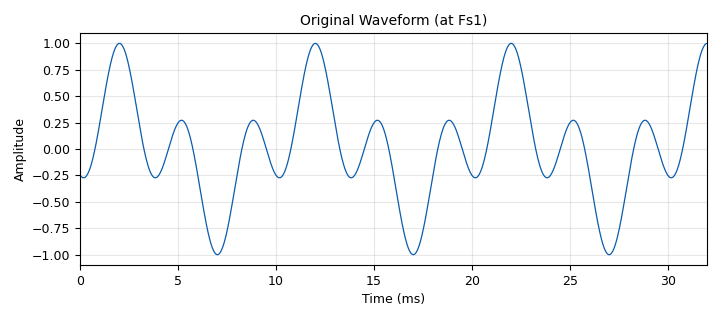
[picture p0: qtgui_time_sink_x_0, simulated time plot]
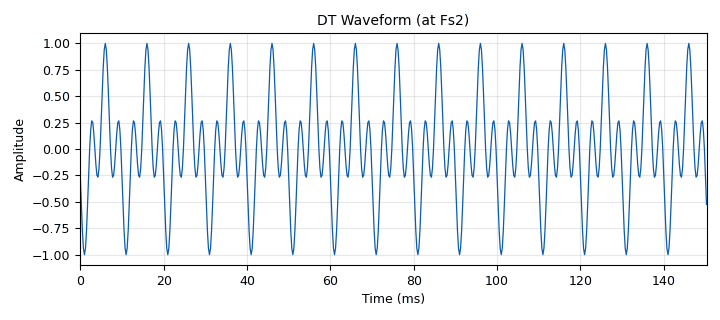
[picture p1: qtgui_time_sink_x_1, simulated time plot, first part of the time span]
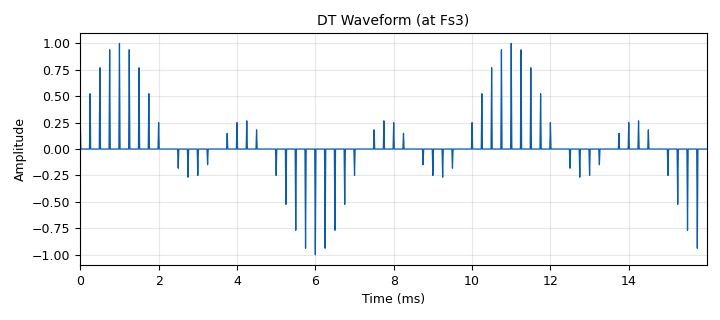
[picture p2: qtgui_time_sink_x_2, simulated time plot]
<?xml version='1.0' encoding='utf-8'?>
<?grc format='1' created='3.7.11'?>
<flow_graph>
<block>
<key>options</key>
<param><key>id</key><value>top_block</value></param>
<param><key>author</key><value>Maurice Woods</value></param>
<param><key>description</key><value>Lab 04</value></param>
<param><key>generate_options</key><value>qt_gui</value></param>
<param><key>title</key><value>Sampling Theorem</value></param>
</block>
<block>
<key>variable</key>
<param><key>id</key><value>Dsamp</value></param>
<param><key>value</key><value>8</value></param>
</block>
<block>
<key>variable</key>
<param><key>id</key><value>Fs1</value></param>
<param><key>value</key><value>32000</value></param>
</block>
<block>
<key>variable</key>
<param><key>id</key><value>Fs2</value></param>
<param><key>value</key><value>4000</value></param>
</block>
<block>
<key>variable</key>
<param><key>id</key><value>Fs3</value></param>
<param><key>value</key><value>64000</value></param>
</block>
<block>
<key>variable_qtgui_range</key>
<param><key>id</key><value>Fs4</value></param>
<param><key>value</key><value>Fs3</value></param>
<param><key>gui_hint</key><value>1,2,1,2</value></param>
<param><key>label</key><value>Fs4</value></param>
<param><key>orient</key><value>Qt.Horizontal</value></param>
<param><key>start</key><value>Fs1</value></param>
<param><key>step</key><value>0.01</value></param>
<param><key>stop</key><value>Fs3*10</value></param>
</block>
<block>
<key>variable</key>
<param><key>id</key><value>Usamp</value></param>
<param><key>value</key><value>16</value></param>
</block>
<block>
<key>variable_qtgui_range</key>
<param><key>id</key><value>f0</value></param>
<param><key>value</key><value>200</value></param>
<param><key>gui_hint</key><value>1,0,1,2</value></param>
<param><key>label</key><value>Initial Frequency</value></param>
<param><key>orient</key><value>Qt.Horizontal</value></param>
<param><key>start</key><value>-5000</value></param>
<param><key>step</key><value>1</value></param>
<param><key>stop</key><value>5000</value></param>
</block>
<block>
<key>variable_qtgui_range</key>
<param><key>id</key><value>fc</value></param>
<param><key>value</key><value>Fs2</value></param>
<param><key>gui_hint</key><value>0,0,1,2</value></param>
<param><key>label</key><value>Center Frequency</value></param>
<param><key>orient</key><value>Qt.Horizontal</value></param>
<param><key>start</key><value>-16000</value></param>
<param><key>step</key><value>1</value></param>
<param><key>stop</key><value>16000</value></param>
</block>
<block>
<key>variable</key>
<param><key>id</key><value>k</value></param>
<param><key>value</key><value>5</value></param>
</block>
<block>
<key>variable_qtgui_range</key>
<param><key>id</key><value>offset</value></param>
<param><key>value</key><value>0</value></param>
<param><key>_enabled</key><value>0</value></param>
<param><key>gui_hint</key><value>1,2,1,2</value></param>
<param><key>label</key><value>Offset</value></param>
<param><key>orient</key><value>Qt.Horizontal</value></param>
<param><key>start</key><value>-1</value></param>
<param><key>step</key><value>0.01</value></param>
<param><key>stop</key><value>1</value></param>
</block>
<block>
<key>variable_qtgui_chooser</key>
<param><key>id</key><value>waveform</value></param>
<param><key>value</key><value>102</value></param>
<param><key>gui_hint</key><value>0,2,1,2</value></param>
<param><key>label0</key><value>Cosine</value></param>
<param><key>label1</key><value>Rectangular</value></param>
<param><key>label2</key><value>Triangular</value></param>
<param><key>num_opts</key><value>3</value></param>
<param><key>option0</key><value>102</value></param>
<param><key>option1</key><value>103</value></param>
<param><key>option2</key><value>104</value></param>
<param><key>orient</key><value>Qt.QHBoxLayout</value></param>
<param><key>type</key><value>int</value></param>
<param><key>widget</key><value>radio_buttons</value></param>
</block>
<block>
<key>analog_sig_source_x</key>
<param><key>id</key><value>analog_sig_source_x_0</value></param>
<param><key>amp</key><value>1</value></param>
<param><key>freq</key><value>f0</value></param>
<param><key>offset</key><value>0</value></param>
<param><key>type</key><value>float</value></param>
<param><key>samp_rate</key><value>Fs1</value></param>
<param><key>waveform</key><value>waveform</value></param>
</block>
<block>
<key>analog_sig_source_x</key>
<param><key>id</key><value>analog_sig_source_x_0_0</value></param>
<param><key>amp</key><value>1</value></param>
<param><key>freq</key><value>f0</value></param>
<param><key>offset</key><value>0</value></param>
<param><key>type</key><value>float</value></param>
<param><key>samp_rate</key><value>Fs4</value></param>
<param><key>waveform</key><value>waveform</value></param>
</block>
<block>
<key>blocks_multiply_xx</key>
<param><key>id</key><value>blocks_multiply_xx_0</value></param>
<param><key>type</key><value>float</value></param>
</block>
<block>
<key>blocks_throttle</key>
<param><key>id</key><value>blocks_throttle_0</value></param>
<param><key>samples_per_second</key><value>Fs1</value></param>
<param><key>type</key><value>float</value></param>
</block>
<block>
<key>fir_filter_xxx</key>
<param><key>id</key><value>fir_filter_xxx_0</value></param>
<param><key>decim</key><value>Dsamp</value></param>
<param><key>taps</key><value>1</value></param>
<param><key>type</key><value>fff</value></param>
</block>
<block>
<key>import</key>
<param><key>id</key><value>import_0</value></param>
<param><key>import</key><value>import ptfun as pt</value></param>
</block>
<block>
<key>import</key>
<param><key>id</key><value>import_0_0</value></param>
<param><key>import</key><value>import numpy as np</value></param>
</block>
<block>
<key>interp_fir_filter_xxx</key>
<param><key>id</key><value>interp_fir_filter_xxx_0</value></param>
<param><key>interp</key><value>Usamp</value></param>
<param><key>taps</key><value>1</value></param>
<param><key>type</key><value>fff</value></param>
</block>
<block>
<key>interp_fir_filter_xxx</key>
<param><key>id</key><value>interp_fir_filter_xxx_0_0</value></param>
<param><key>interp</key><value>1</value></param>
<param><key>taps</key><value>2*np.cos(2*np.pi*fc/Fs3*np.arange(-2*k*Usamp,2*k*Usamp))*pt.pampt(Usamp,'sinc',[k,2.6,Fs3])</value></param>
<param><key>type</key><value>fff</value></param>
</block>
<block>
<key>qtgui_time_sink_x</key>
<param><key>id</key><value>qtgui_time_sink_x_0</value></param>
<param><key>autoscale</key><value>True</value></param>
<param><key>gui_hint</key><value>2,0,1,2</value></param>
<param><key>grid</key><value>True</value></param>
<param><key>color1</key><value>"blue"</value></param>
<param><key>label1</key><value></value></param>
<param><key>name</key><value>"Original Waveform (at Fs1)"</value></param>
<param><key>size</key><value>1024</value></param>
<param><key>srate</key><value>Fs1</value></param>
<param><key>type</key><value>float</value></param>
</block>
<block>
<key>qtgui_time_sink_x</key>
<param><key>id</key><value>qtgui_time_sink_x_1</value></param>
<param><key>autoscale</key><value>True</value></param>
<param><key>gui_hint</key><value>2,2,1,2</value></param>
<param><key>grid</key><value>True</value></param>
<param><key>color1</key><value>"blue"</value></param>
<param><key>label1</key><value></value></param>
<param><key>name</key><value>"DT Waveform (at Fs2)"</value></param>
<param><key>size</key><value>1024</value></param>
<param><key>srate</key><value>Fs2</value></param>
<param><key>type</key><value>float</value></param>
</block>
<block>
<key>qtgui_time_sink_x</key>
<param><key>id</key><value>qtgui_time_sink_x_2</value></param>
<param><key>autoscale</key><value>True</value></param>
<param><key>gui_hint</key><value>3,0,1,2</value></param>
<param><key>grid</key><value>True</value></param>
<param><key>color1</key><value>"blue"</value></param>
<param><key>label1</key><value></value></param>
<param><key>name</key><value>"DT Waveform (at Fs3)"</value></param>
<param><key>size</key><value>1024</value></param>
<param><key>srate</key><value>Fs3</value></param>
<param><key>type</key><value>float</value></param>
</block>
<block>
<key>qtgui_time_sink_x</key>
<param><key>id</key><value>qtgui_time_sink_x_3</value></param>
<param><key>autoscale</key><value>True</value></param>
<param><key>gui_hint</key><value>3,2,1,2</value></param>
<param><key>grid</key><value>True</value></param>
<param><key>color1</key><value>"blue"</value></param>
<param><key>label1</key><value></value></param>
<param><key>name</key><value>"Reconstructed Waveform (at Fs3)"</value></param>
<param><key>size</key><value>1024</value></param>
<param><key>srate</key><value>Fs3</value></param>
<param><key>type</key><value>float</value></param>
</block>
<connection><source_block_id>analog_sig_source_x_0</source_block_id><sink_block_id>blocks_multiply_xx_0</sink_block_id><source_key>0</source_key><sink_key>0</sink_key></connection>
<connection><source_block_id>analog_sig_source_x_0_0</source_block_id><sink_block_id>blocks_multiply_xx_0</sink_block_id><source_key>0</source_key><sink_key>1</sink_key></connection>
<connection><source_block_id>blocks_multiply_xx_0</source_block_id><sink_block_id>blocks_throttle_0</sink_block_id><source_key>0</source_key><sink_key>0</sink_key></connection>
<connection><source_block_id>blocks_throttle_0</source_block_id><sink_block_id>fir_filter_xxx_0</sink_block_id><source_key>0</source_key><sink_key>0</sink_key></connection>
<connection><source_block_id>blocks_throttle_0</source_block_id><sink_block_id>qtgui_time_sink_x_0</sink_block_id><source_key>0</source_key><sink_key>0</sink_key></connection>
<connection><source_block_id>fir_filter_xxx_0</source_block_id><sink_block_id>interp_fir_filter_xxx_0</sink_block_id><source_key>0</source_key><sink_key>0</sink_key></connection>
<connection><source_block_id>fir_filter_xxx_0</source_block_id><sink_block_id>qtgui_time_sink_x_1</sink_block_id><source_key>0</source_key><sink_key>0</sink_key></connection>
<connection><source_block_id>interp_fir_filter_xxx_0</source_block_id><sink_block_id>interp_fir_filter_xxx_0_0</sink_block_id><source_key>0</source_key><sink_key>0</sink_key></connection>
<connection><source_block_id>interp_fir_filter_xxx_0</source_block_id><sink_block_id>qtgui_time_sink_x_2</sink_block_id><source_key>0</source_key><sink_key>0</sink_key></connection>
<connection><source_block_id>interp_fir_filter_xxx_0_0</source_block_id><sink_block_id>qtgui_time_sink_x_3</sink_block_id><source_key>0</source_key><sink_key>0</sink_key></connection>
</flow_graph>
